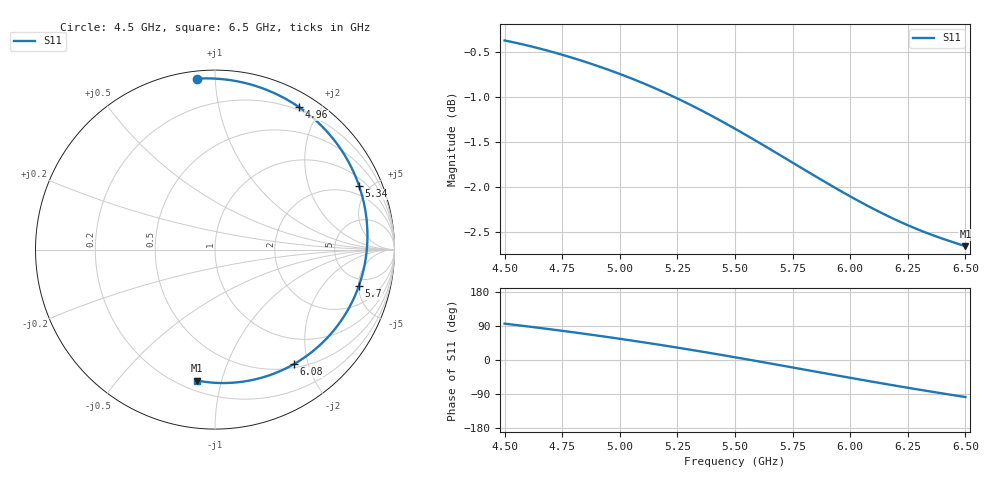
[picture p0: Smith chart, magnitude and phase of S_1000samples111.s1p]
! TOUCHSTONE file generated by CST MICROWAVE STUDIO
! Date and time: Thu Oct 27 01:02:13 2022
! Project name: L.cst
! Parameters = {Di=1.27; Epsilon_r=1.56; InnerDiameter=1.27; Length=2; Lf=10; Lg=60; OuterConductorThickness=0.2921; OuterDiameter=3.6; Wf=3; Wp=41.2; de=1.5; df=6.8; g=0.8; gx=4.13507; gy=4.05023; h=2.34; hf=1.524; px=11.8992; py=11.1306; w=9.7; wx=7.7641; wy=7.08034}
! Header version: 2018
! Port assignment regex: !\s*Touchstone port\s*([0-9]+)\s*=\s*(CST MWS port|CST DS port)\s*([0-9]+|Zmin|Zmax)\s*\(\"(.*)\"\)(\s*mode\s*([0-9]+))?.*
! Touchstone port assignment:
! Touchstone port 1 = CST MWS port 1 ("")
# GHz S DB R 50
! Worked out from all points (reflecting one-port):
!   101 points, 4.5 GHz to 6.5 GHz, reference 50 ohm
!   lowest |S11| = -2.7 dB at 6.5 GHz (marker M1), VSWR 6.59, Z = 13.1 - j41.9 ohm
!   phase of S11 starts at 96 deg and turns -194 deg over the sweep
!   S11 on the Smith chart (normalised r, x): 4.5 GHz: 0.04, +0.90; 4.96 GHz: 0.17, +1.74; 5.34 GHz: 1.41, +4.33; 5.7 GHz: 3.91, -5.02; 6.08 GHz: 0.55, -1.77; 6.5 GHz: 0.26, -0.84
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4.5  -0.38 95.9
4.58  -0.42 90.1
4.64  -0.46 85.6
4.76  -0.54 76.2
4.86  -0.62 68.0
4.96  -0.71 59.5
5  -0.75 56.0
5.06  -0.81 50.6
5.12  -0.87 45.1
5.2  -0.96 37.5
5.26  -1.03 31.7
5.34  -1.13 23.7
5.42  -1.24 15.5
5.5  -1.35 7.2
5.6  -1.50 -3.5
5.7  -1.65 -14.3
5.76  -1.75 -20.8
5.82  -1.84 -27.4
5.88  -1.93 -33.9
5.94  -2.02 -40.5
6  -2.10 -47.0
6.08  -2.22 -55.5
6.16  -2.32 -63.9
6.26  -2.44 -74.2
6.32  -2.50 -80.3
6.38  -2.56 -86.2
6.44  -2.61 -92.0
6.5  -2.66 -97.7
